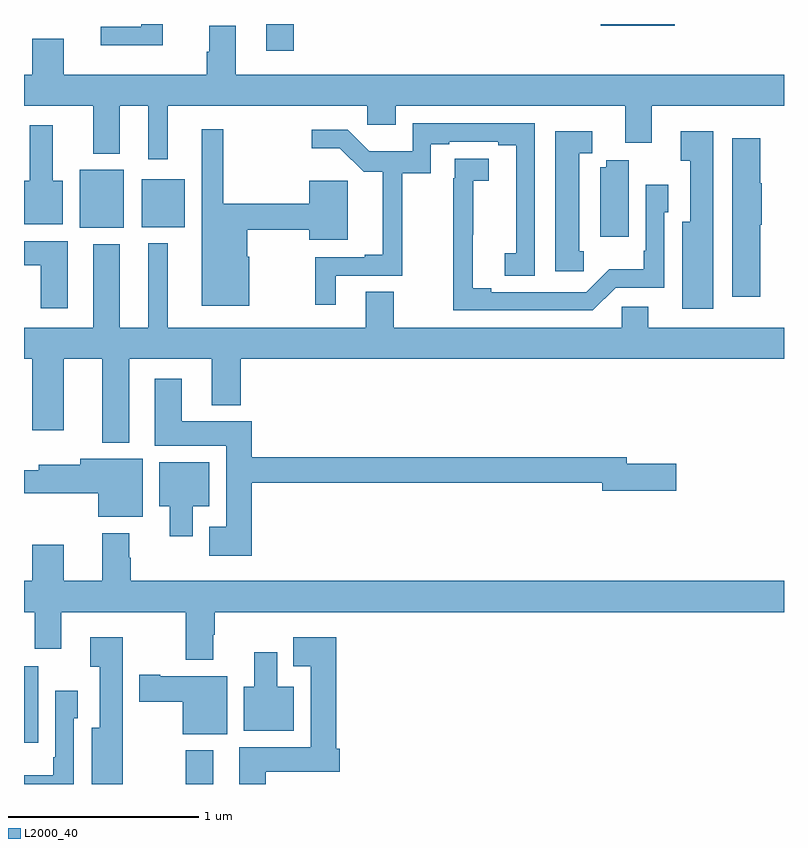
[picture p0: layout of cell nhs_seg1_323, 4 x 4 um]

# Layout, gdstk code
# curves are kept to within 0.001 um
import gdstk
lib = gdstk.Library(unit=1e-6, precision=1e-09)
def R(c, l, rs):  # rectangles x0, y0, x1, y1
    for r in rs: c.add(gdstk.rectangle(r[:2], r[2:], *l))
def P(c, l, *ps):  # polygons
    for p in ps: c.add(gdstk.Polygon(p, *l))
L2000_40 = (2000, 40)

nhs_seg1_323 = lib.new_cell('nhs_seg1_323')
R(nhs_seg1_323, L2000_40, [(129.85,512.199,129.997,512.377), (129,512.415,129.076,512.819), (129.293,515.126,129.526,515.431), (129.62,515.129,129.847,515.383), (130.274,516.057,130.421,516.199), (132.036,516.191,132.424,516.199)])
P(nhs_seg1_323, L2000_40, [(129.729,516.199),(129.617,516.199),(129.617,516.184),(129.405,516.184),(129.405,516.086),(129.729,516.086)],
  [(129.757,515.768),(130.806,515.768),(130.806,515.67),(130.957,515.67),(130.957,515.768),(132.164,515.768),(132.164,515.574),(132.304,515.574),(132.304,515.768),(133,515.768),(133,515.932),(130.114,515.932),(130.114,516.19),(129.974,516.19),(129.974,516.053),(129.962,516.053),(129.962,515.932),(129.208,515.932),(129.208,516.121),(129.044,516.121),(129.044,515.932),(129,515.932),(129,515.768),(129.365,515.768),(129.365,515.516),(129.505,515.516),(129.505,515.768),(129.653,515.768),(129.653,515.487),(129.757,515.487)],
  [(130.642,514.875),(130.991,514.875),(130.991,515.413),(131.142,515.413),(131.142,515.566),(131.239,515.566),(131.239,515.58),(131.495,515.58),(131.495,515.56),(131.591,515.56),(131.59,514.993),(131.529,514.993),(131.529,514.873),(131.688,514.873),(131.688,515.676),(131.046,515.676),(131.046,515.53),(130.817,515.53),(130.704,515.643),(130.515,515.643),(130.515,515.546),(130.663,515.546),(130.789,515.421),(130.889,515.421),(130.889,514.984),(130.793,514.984),(130.793,514.971),(130.533,514.971),(130.533,514.722),(130.642,514.722)],
  [(129.205,515.374),(129.151,515.374),(129.151,515.665),(129.029,515.665),(129.029,515.374),(129,515.374),(129,515.144),(129.205,515.144)],
  [(130.186,514.974),(130.174,514.974),(130.174,515.116),(130.502,515.116),(130.502,515.063),(130.705,515.063),(130.705,515.373),(130.502,515.373),(130.502,515.252),(130.049,515.252),(130.049,515.644),(129.935,515.644),(129.935,514.715),(130.186,514.715)],
  [(131.945,515.004),(131.923,515.004),(131.923,515.52),(131.992,515.52),(131.992,515.635),(131.795,515.635),(131.795,514.899),(131.945,514.899)],
  [(132.628,515.635),(132.456,515.635),(132.456,515.479),(132.506,515.479),(132.506,515.158),(132.464,515.158),(132.464,514.701),(132.628,514.701)],
  [(132.874,515.143),(132.882,515.143),(132.882,515.36),(132.874,515.36),(132.874,515.599),(132.728,515.599),(132.728,514.764),(132.874,514.764)],
  [(132.114,514.812),(132.369,514.812),(132.369,515.208),(132.39,515.208),(132.39,515.353),(132.273,515.353),(132.273,515.005),(132.261,515.005),(132.261,514.909),(132.079,514.909),(131.958,514.788),(131.458,514.788),(131.458,514.808),(131.362,514.808),(131.364,515.374),(131.446,515.374),(131.446,515.489),(131.266,515.489),(131.266,515.387),(131.26,515.387),(131.26,514.692),(131.994,514.692)],
  [(132.184,515.483),(132.064,515.483),(132.064,515.446),(132.032,515.446),(132.032,515.079),(132.184,515.079)],
  [(129.229,515.056),(129,515.056),(129,514.928),(129.089,514.928),(129.089,514.704),(129.229,514.704)],
  [(129.553,514.436),(129.989,514.436),(129.989,514.193),(130.142,514.193),(130.142,514.436),(133,514.436),(133,514.6),(132.286,514.6),(132.286,514.71),(132.147,514.71),(132.147,514.6),(130.947,514.6),(130.947,514.79),(130.799,514.79),(130.799,514.6),(129.757,514.6),(129.757,515.044),(129.653,515.044),(129.653,514.6),(129.505,514.6),(129.505,515.041),(129.365,515.041),(129.365,514.6),(129,514.6),(129,514.436),(129.044,514.436),(129.044,514.062),(129.208,514.062),(129.208,514.436),(129.413,514.436),(129.413,513.995),(129.553,513.995)],
  [(130.199,513.784),(132.044,513.784),(132.044,513.742),(132.433,513.742),(132.433,513.884),(132.172,513.884),(132.172,513.92),(130.199,513.92),(130.199,514.108),(129.829,514.108),(129.829,514.333),(129.689,514.333),(129.689,513.98),(130.064,513.98),(130.064,513.553),(129.974,513.553),(129.974,513.401),(130.199,513.401)],
  [(129.625,513.91),(129.296,513.91),(129.296,513.88),(129.077,513.88),(129.077,513.85),(129,513.85),(129,513.728),(129.392,513.728),(129.392,513.605),(129.625,513.605)],
  [(129.889,513.662),(129.976,513.662),(129.976,513.892),(129.713,513.892),(129.713,513.662),(129.767,513.662),(129.767,513.504),(129.889,513.504)],
  [(129.997,512.984),(130.005,512.984),(130.005,513.104),(133,513.104),(133,513.268),(129.561,513.268),(129.561,513.389),(129.553,513.389),(129.553,513.52),(129.413,513.52),(129.413,513.268),(129.208,513.268),(129.208,513.457),(129.044,513.457),(129.044,513.268),(129,513.268),(129,513.104),(129.056,513.104),(129.056,512.91),(129.196,512.91),(129.196,513.104),(129.85,513.104),(129.85,512.852),(129.997,512.852)],
  [(130.273,512.264),(130.661,512.264),(130.661,512.385),(130.643,512.385),(130.643,512.971),(130.418,512.971),(130.418,512.819),(130.508,512.819),(130.508,512.392),(130.133,512.392),(130.133,512.199),(130.273,512.199)],
  [(129.52,512.971),(129.348,512.971),(129.348,512.815),(129.398,512.815),(129.398,512.494),(129.356,512.494),(129.356,512.199),(129.52,512.199)],
  [(130.42,512.71),(130.333,512.71),(130.333,512.893),(130.211,512.893),(130.211,512.71),(130.157,512.71),(130.157,512.48),(130.42,512.48)],
  [(130.069,512.767),(129.718,512.767),(129.718,512.775),(129.606,512.775),(129.606,512.633),(129.836,512.633),(129.836,512.462),(130.069,512.462)],
  [(129.261,512.544),(129.282,512.544),(129.282,512.689),(129.165,512.689),(129.165,512.341),(129.153,512.341),(129.153,512.245),(129,512.245),(129,512.199),(129.261,512.199)])

lib.write_gds('nhs_seg1_323.gds')
